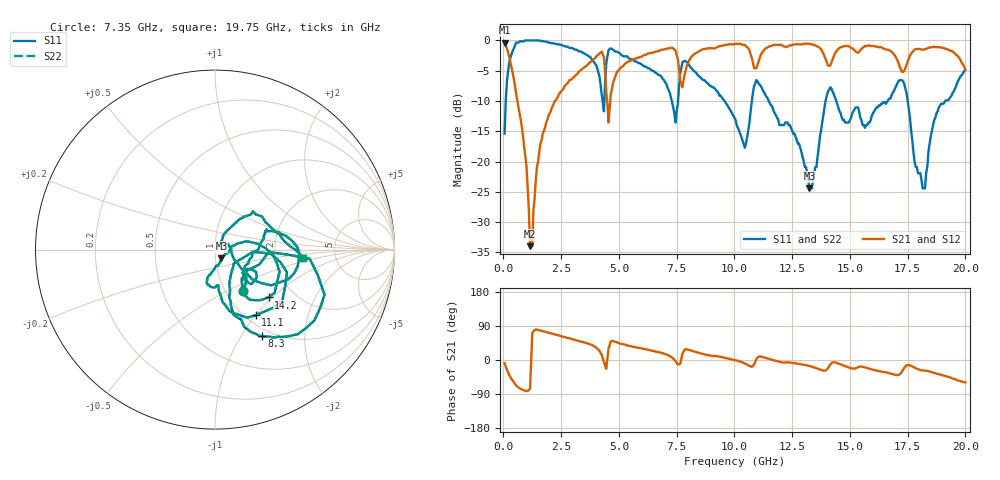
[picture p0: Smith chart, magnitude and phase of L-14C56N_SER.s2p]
# MHZ S MA R 50
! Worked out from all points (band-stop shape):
!   400 points, 50 MHz to 20 GHz, reference 50 ohm
!   highest |S21| = -0.35 dB at 50 MHz (marker M1); lowest = -34.0 dB at 1.15 GHz (marker M2)
!   |S21| within 3 dB of the highest: 11.06 GHz to 13.98 GHz (2.915 GHz wide, 23.3 % of centre); 14.22 GHz to 17.06 GHz (2.838 GHz wide, 18.1 % of centre) (the widest 2 of 7)
!   lowest |S11| = -24.4 dB at 13.25 GHz (marker M3), VSWR 1.13, Z = 53.4 - j5.18 ohm
!   |S11| at or under -10 dB: 11.48 GHz to 13.95 GHz (2.461 GHz wide, 19.4 % of centre); 14.41 GHz to 16.63 GHz (2.222 GHz wide, 14.3 % of centre); 17.5 GHz to 19.13 GHz (1.628 GHz wide, 8.89 % of centre) (the widest 3 of 7)
!   |S22| runs from -24.4 to 0.0 dB; largest |S21 - S12| = 0
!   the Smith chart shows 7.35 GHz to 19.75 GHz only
!   S11 on the Smith chart (normalised r, x): 7.35 GHz: 1.20, -0.61; 8.3 GHz: 0.90, -1.24; 11.1 GHz: 1.11, -1.00; 14.2 GHz: 1.49, -0.95; 19.75 GHz: 2.88, -0.34
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50  0.17 73.1  0.96 -8.5  0.96 -8.5  0.17 73.1
300  0.72 40.9  0.66 -44.9  0.66 -44.9  0.72 40.9
1150  1 4.5  0.02 -75.9  0.02 -75.9  1 4.5
1700  0.99 -9.1  0.17 76.3  0.17 76.3  0.99 -9.1
3400  0.8 -42.4  0.58 48.2  0.58 48.2  0.8 -42.4
4250  0.36 -59.7  0.81 14.1  0.81 14.1  0.36 -59.7
4450  0.64 -0.3  0.38 -23.4  0.38 -23.4  0.64 -0.3
4900  0.81 -46.2  0.54 46.7  0.54 46.7  0.81 -46.2
6700  0.52 -63.3  0.82 21.0  0.82 21.0  0.52 -63.3
7350  0.28 -56.4  0.86 3.8  0.86 3.8  0.28 -56.4
7750  0.66 -22.4  0.41 16.4  0.41 16.4  0.66 -22.4
8300  0.55 -61.5  0.78 21.7  0.78 21.7  0.55 -61.5
10050  0.22 -68.5  0.94 -0.6  0.94 -0.6  0.22 -68.5
11100  0.43 -58.3  0.72 9.2  0.72 9.2  0.43 -58.3
13250  0.06 -53.6  0.94 -15.5  0.94 -15.5  0.06 -53.6
13350  0.06 -29.9  0.93 -17.5  0.93 -17.5  0.06 -29.9
14200  0.4 -41.8  0.66 -8.8  0.66 -8.8  0.4 -41.8
16700  0.33 18.5  0.83 -34.8  0.83 -34.8  0.33 18.5
17350  0.44 -22.2  0.56 -20.8  0.56 -20.8  0.44 -22.2
18250  0.06 53.1  0.85 -28.2  0.85 -28.2  0.06 53.1
19750  0.49 -5.2  0.71 -55.4  0.71 -55.4  0.49 -5.2
20000  0.57 -16.1  0.57 -58.8  0.57 -58.8  0.57 -16.1
